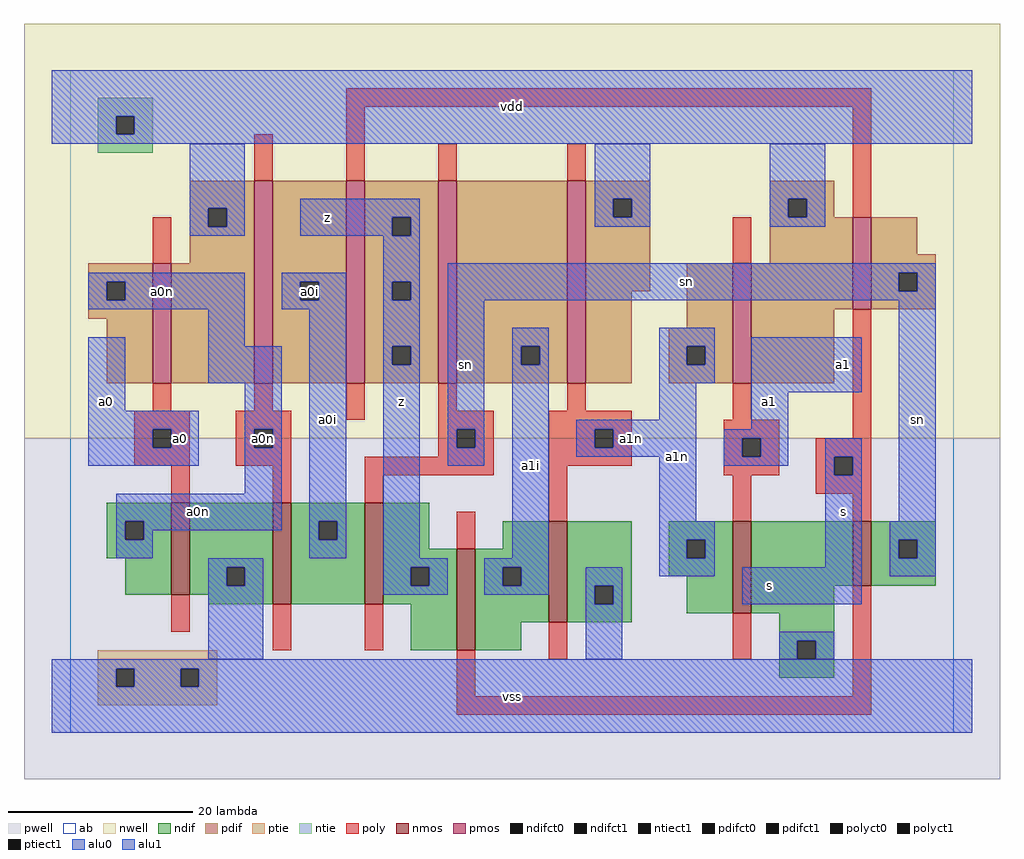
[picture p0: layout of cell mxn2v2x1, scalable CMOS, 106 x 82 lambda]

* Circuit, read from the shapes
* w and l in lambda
.subckt mxn2v2x1 a0 a0i a0n a1 a1i a1n s sn vdd vss z
M1 vss a0 a0n vss nfet w=10 l=2
M2 a0i a0n vss vss nfet w=11 l=2
M3 z sn a0i vss nfet w=11 l=2
M4 a1i s z vss nfet w=11 l=2
M5 vss a1n a1i vss nfet w=11 l=2
M6 vss a1 a1n vss nfet w=10 l=2
M7 sn s vss vss nfet w=7 l=2
M8 vdd a0 a0n vdd pfet w=13 l=2
M9 a0i a0n vdd vdd pfet w=22 l=2
M10 z s a0i vdd pfet w=22 l=2
M11 a1i sn z vdd pfet w=22 l=2
M12 vdd a1n a1i vdd pfet w=22 l=2
M13 vdd a1 a1n vdd pfet w=13 l=2
M14 sn s vdd vdd pfet w=10 l=2
.ends

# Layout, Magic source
magic
tech scmos
<< ab >>
rect 0 0 96 72
<< nwell >>
rect -5 32 101 77
<< pwell >>
rect -5 -5 101 32
<< poly >>
rect 30 68 87 70
rect 20 60 22 65
rect 30 60 32 68
rect 40 60 42 64
rect 54 60 56 64
rect 9 51 11 56
rect 85 56 87 68
rect 72 51 74 56
rect 9 35 11 38
rect 20 35 22 38
rect 7 33 13 35
rect 7 31 9 33
rect 11 31 13 33
rect 7 29 13 31
rect 18 33 24 35
rect 30 34 32 38
rect 40 35 42 38
rect 54 35 56 38
rect 18 31 20 33
rect 22 31 24 33
rect 18 29 24 31
rect 40 33 46 35
rect 40 31 42 33
rect 44 31 46 33
rect 40 30 46 31
rect 11 25 13 29
rect 22 25 24 29
rect 32 28 46 30
rect 52 33 61 35
rect 72 34 74 38
rect 52 31 57 33
rect 59 31 61 33
rect 52 29 61 31
rect 71 32 77 34
rect 85 32 87 46
rect 71 30 73 32
rect 75 30 77 32
rect 32 25 34 28
rect 11 11 13 15
rect 42 20 44 24
rect 52 23 54 29
rect 71 28 77 30
rect 81 30 87 32
rect 81 28 83 30
rect 85 28 87 30
rect 72 23 74 28
rect 81 26 87 28
rect 85 23 87 26
rect 22 9 24 14
rect 32 9 34 14
rect 42 4 44 9
rect 52 8 54 12
rect 72 8 74 13
rect 85 4 87 16
rect 42 2 87 4
<< ndif >>
rect 4 23 11 25
rect 4 21 6 23
rect 8 21 11 23
rect 4 19 11 21
rect 6 15 11 19
rect 13 18 22 25
rect 13 16 17 18
rect 19 16 22 18
rect 13 15 22 16
rect 15 14 22 15
rect 24 23 32 25
rect 24 21 27 23
rect 29 21 32 23
rect 24 14 32 21
rect 34 20 39 25
rect 47 20 52 23
rect 34 18 42 20
rect 34 16 37 18
rect 39 16 42 18
rect 34 14 42 16
rect 37 9 42 14
rect 44 18 52 20
rect 44 16 47 18
rect 49 16 52 18
rect 44 12 52 16
rect 54 16 61 23
rect 65 21 72 23
rect 65 19 67 21
rect 69 19 72 21
rect 65 17 72 19
rect 54 14 57 16
rect 59 14 61 16
rect 54 12 61 14
rect 67 13 72 17
rect 74 16 85 23
rect 87 21 94 23
rect 87 19 90 21
rect 92 19 94 21
rect 87 16 94 19
rect 74 13 83 16
rect 44 9 49 12
rect 77 10 83 13
rect 77 8 79 10
rect 81 8 83 10
rect 77 6 83 8
<< pdif >>
rect 13 57 20 60
rect 13 55 15 57
rect 17 55 20 57
rect 13 51 20 55
rect 2 49 9 51
rect 2 47 4 49
rect 6 47 9 49
rect 2 45 9 47
rect 4 38 9 45
rect 11 38 20 51
rect 22 49 30 60
rect 22 47 25 49
rect 27 47 30 49
rect 22 38 30 47
rect 32 56 40 60
rect 32 54 35 56
rect 37 54 40 56
rect 32 49 40 54
rect 32 47 35 49
rect 37 47 40 49
rect 32 42 40 47
rect 32 40 35 42
rect 37 40 40 42
rect 32 38 40 40
rect 42 42 54 60
rect 42 40 49 42
rect 51 40 54 42
rect 42 38 54 40
rect 56 58 63 60
rect 56 56 59 58
rect 61 56 63 58
rect 76 58 83 60
rect 76 56 78 58
rect 80 56 83 58
rect 56 48 63 56
rect 76 51 85 56
rect 56 38 61 48
rect 67 44 72 51
rect 65 42 72 44
rect 65 40 67 42
rect 69 40 72 42
rect 65 38 72 40
rect 74 46 85 51
rect 87 52 92 56
rect 87 50 94 52
rect 87 48 90 50
rect 92 48 94 50
rect 87 46 94 48
rect 74 38 83 46
<< alu1 >>
rect -2 67 98 72
rect -2 65 5 67
rect 7 65 98 67
rect -2 64 98 65
rect 25 56 38 58
rect 25 54 35 56
rect 37 54 38 56
rect 2 35 6 43
rect 2 33 14 35
rect 2 31 9 33
rect 11 31 14 33
rect 2 29 14 31
rect 34 49 38 54
rect 34 47 35 49
rect 37 47 38 49
rect 34 42 38 47
rect 34 40 35 42
rect 37 40 38 42
rect 34 19 38 40
rect 74 37 86 43
rect 74 33 78 37
rect 34 18 41 19
rect 34 16 37 18
rect 39 16 41 18
rect 34 15 41 16
rect 71 32 78 33
rect 71 30 73 32
rect 75 30 78 32
rect 71 29 78 30
rect 82 30 86 32
rect 82 28 83 30
rect 85 28 86 30
rect 82 18 86 28
rect 73 14 86 18
rect -2 7 98 8
rect -2 5 5 7
rect 7 5 12 7
rect 14 5 98 7
rect -2 0 98 5
<< ptie >>
rect 3 7 16 9
rect 3 5 5 7
rect 7 5 12 7
rect 14 5 16 7
rect 3 3 16 5
<< ntie >>
rect 3 67 9 69
rect 3 65 5 67
rect 7 65 9 67
rect 3 63 9 65
<< nmos >>
rect 11 15 13 25
rect 22 14 24 25
rect 32 14 34 25
rect 42 9 44 20
rect 52 12 54 23
rect 72 13 74 23
rect 85 16 87 23
<< pmos >>
rect 9 38 11 51
rect 20 38 22 60
rect 30 38 32 60
rect 40 38 42 60
rect 54 38 56 60
rect 72 38 74 51
rect 85 46 87 56
<< polyct0 >>
rect 20 31 22 33
rect 42 31 44 33
rect 57 31 59 33
<< polyct1 >>
rect 9 31 11 33
rect 73 30 75 32
rect 83 28 85 30
<< ndifct0 >>
rect 6 21 8 23
rect 17 16 19 18
rect 27 21 29 23
rect 47 16 49 18
rect 67 19 69 21
rect 57 14 59 16
rect 90 19 92 21
rect 79 8 81 10
<< ndifct1 >>
rect 37 16 39 18
<< ntiect1 >>
rect 5 65 7 67
<< ptiect1 >>
rect 5 5 7 7
rect 12 5 14 7
<< pdifct0 >>
rect 15 55 17 57
rect 4 47 6 49
rect 25 47 27 49
rect 49 40 51 42
rect 59 56 61 58
rect 78 56 80 58
rect 67 40 69 42
rect 90 48 92 50
<< pdifct1 >>
rect 35 54 37 56
rect 35 47 37 49
rect 35 40 37 42
<< alu0 >>
rect 13 57 19 64
rect 57 58 63 64
rect 13 55 15 57
rect 17 55 19 57
rect 13 54 19 55
rect 57 56 59 58
rect 61 56 63 58
rect 57 55 63 56
rect 76 58 82 64
rect 76 56 78 58
rect 80 56 82 58
rect 76 55 82 56
rect 2 49 19 50
rect 2 47 4 49
rect 6 47 19 49
rect 2 46 19 47
rect 23 49 30 50
rect 23 47 25 49
rect 27 47 30 49
rect 23 46 30 47
rect 15 42 19 46
rect 15 38 23 42
rect 19 33 23 38
rect 19 31 20 33
rect 22 31 23 33
rect 19 26 23 31
rect 5 23 23 26
rect 5 21 6 23
rect 8 22 23 23
rect 26 23 30 46
rect 8 21 9 22
rect 5 19 9 21
rect 26 21 27 23
rect 29 21 30 23
rect 26 19 30 21
rect 41 50 94 51
rect 41 48 90 50
rect 92 48 94 50
rect 41 47 94 48
rect 41 33 45 47
rect 41 31 42 33
rect 44 31 45 33
rect 41 29 45 31
rect 48 42 52 44
rect 48 40 49 42
rect 51 40 52 42
rect 48 19 52 40
rect 64 42 70 44
rect 64 40 67 42
rect 69 40 70 42
rect 64 38 70 40
rect 64 34 68 38
rect 55 33 68 34
rect 55 31 57 33
rect 59 31 68 33
rect 55 30 68 31
rect 15 18 21 19
rect 15 16 17 18
rect 19 16 21 18
rect 15 8 21 16
rect 45 18 52 19
rect 64 23 68 30
rect 64 21 70 23
rect 64 19 67 21
rect 69 19 70 21
rect 45 16 47 18
rect 49 16 52 18
rect 45 15 52 16
rect 56 16 60 18
rect 64 17 70 19
rect 90 23 94 47
rect 56 14 57 16
rect 59 14 60 16
rect 89 21 94 23
rect 89 19 90 21
rect 92 19 94 21
rect 89 17 94 19
rect 56 8 60 14
rect 77 10 83 11
rect 77 8 79 10
rect 81 8 83 10
<< labels >>
rlabel alu0 14 24 14 24 6 a0n
rlabel polyct0 21 32 21 32 6 a0n
rlabel alu0 10 48 10 48 6 a0n
rlabel alu0 43 40 43 40 6 sn
rlabel alu0 28 34 28 34 6 a0i
rlabel pdifct0 26 48 26 48 6 a0i
rlabel alu0 61 32 61 32 6 a1n
rlabel alu0 50 29 50 29 6 a1i
rlabel alu0 66 30 66 30 6 a1n
rlabel alu0 92 34 92 34 6 sn
rlabel alu0 67 49 67 49 6 sn
rlabel alu1 12 32 12 32 6 a0
rlabel alu1 4 36 4 36 6 a0
rlabel alu1 36 36 36 36 6 z
rlabel alu1 28 56 28 56 6 z
rlabel alu1 48 4 48 4 6 vss
rlabel alu1 48 68 48 68 6 vdd
rlabel alu1 76 16 76 16 6 s
rlabel alu1 84 24 84 24 6 s
rlabel alu1 84 40 84 40 6 a1
rlabel alu1 76 36 76 36 6 a1
<< end >>
